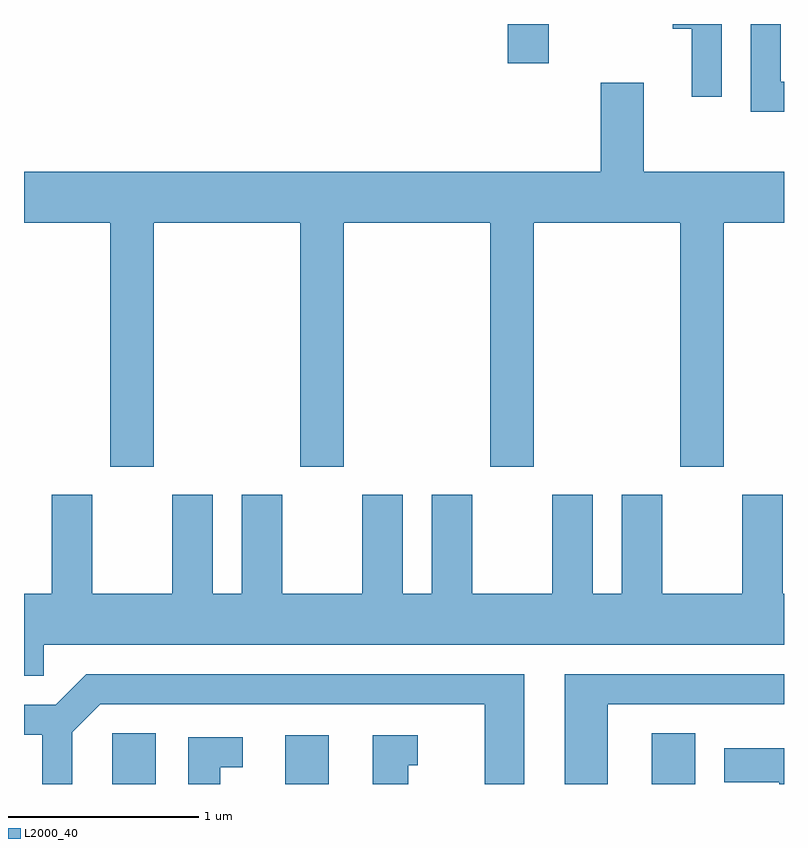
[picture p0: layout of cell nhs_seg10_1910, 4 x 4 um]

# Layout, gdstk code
import gdstk
lib = gdstk.Library(unit=1e-6, precision=1e-09)
def R(c, l, rs):  # rectangles x0, y0, x1, y1
    for r in rs: c.add(gdstk.rectangle(r[:2], r[2:], *l))
def P(c, l, *ps):  # polygons
    for p in ps: c.add(gdstk.Polygon(p, *l))
L2000_40 = (2000, 40)

nhs_seg10_1910 = lib.new_cell('nhs_seg10_1910')
R(nhs_seg10_1910, L2000_40, [(242.076,2106.522,242.304,2106.789), (242.986,2106.522,243.214,2106.779), (244.916,2106.522,245.144,2106.789), (244.156,2110.316,244.374,2110.522)])
P(nhs_seg10_1910, L2000_40, [(245.611,2110.219),(245.594,2110.219),(245.594,2110.522),(245.436,2110.522),(245.436,2110.061),(245.611,2110.061)],
  [(245.284,2110.522),(245.026,2110.522),(245.026,2110.496),(245.126,2110.496),(245.126,2110.138),(245.284,2110.138)],
  [(242.294,2109.476),(243.066,2109.476),(243.066,2108.191),(243.294,2108.191),(243.294,2109.476),(244.066,2109.476),(244.066,2108.191),(244.294,2108.191),(244.294,2109.476),(245.066,2109.476),(245.066,2108.191),(245.294,2108.191),(245.294,2109.476),(245.611,2109.476),(245.611,2109.744),(244.874,2109.744),(244.874,2110.214),(244.646,2110.214),(244.646,2109.744),(241.611,2109.744),(241.611,2109.476),(242.066,2109.476),(242.066,2108.191),(242.294,2108.191)],
  [(241.714,2107.256),(245.611,2107.256),(245.611,2107.524),(245.604,2107.524),(245.604,2108.044),(245.391,2108.044),(245.391,2107.524),(244.969,2107.524),(244.969,2108.044),(244.756,2108.044),(244.756,2107.524),(244.604,2107.524),(244.604,2108.044),(244.391,2108.044),(244.391,2107.524),(243.969,2107.524),(243.969,2108.044),(243.756,2108.044),(243.756,2107.524),(243.604,2107.524),(243.604,2108.044),(243.391,2108.044),(243.391,2107.524),(242.969,2107.524),(242.969,2108.044),(242.756,2108.044),(242.756,2107.524),(242.604,2107.524),(242.604,2108.044),(242.391,2108.044),(242.391,2107.524),(241.969,2107.524),(241.969,2108.044),(241.756,2108.044),(241.756,2107.524),(241.611,2107.524),(241.611,2107.091),(241.714,2107.091)],
  [(244.684,2106.941),(245.611,2106.941),(245.611,2107.099),(244.456,2107.099),(244.456,2106.522),(244.684,2106.522)],
  [(241.864,2106.794),(242.012,2106.941),(244.036,2106.941),(244.036,2106.522),(244.244,2106.522),(244.244,2107.099),(241.939,2107.099),(241.779,2106.939),(241.611,2106.939),(241.611,2106.781),(241.706,2106.781),(241.706,2106.522),(241.864,2106.522)],
  [(243.634,2106.621),(243.683,2106.621),(243.683,2106.779),(243.446,2106.779),(243.446,2106.522),(243.634,2106.522)],
  [(242.644,2106.611),(242.763,2106.611),(242.763,2106.769),(242.476,2106.769),(242.476,2106.522),(242.644,2106.522)],
  [(245.611,2106.709),(245.296,2106.709),(245.296,2106.531),(245.586,2106.531),(245.586,2106.522),(245.611,2106.522)])

lib.write_gds('nhs_seg10_1910.gds')
